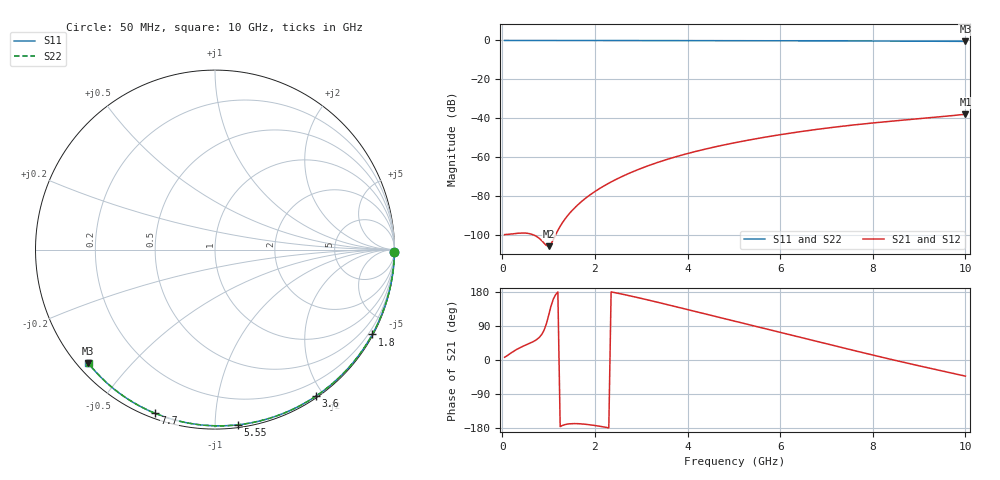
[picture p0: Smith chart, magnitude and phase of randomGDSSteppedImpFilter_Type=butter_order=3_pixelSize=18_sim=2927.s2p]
! freq	dB(S11)	phase(S11)	dB(S12)	phase(S12)
!  dB(S21)	phase(S21)	dB(S22)	phase(S22)
!S-par simulation data
#  GHz  S  DB  R 50
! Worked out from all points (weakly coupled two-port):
!   200 points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, 50 MHz to 10 GHz, reference 50 ohm
!   highest |S21| = -37.85 dB at 10 GHz (marker M1); lowest = -105.5 dB at 1 GHz (marker M2)
!   lowest |S11| = -0.5 dB at 10 GHz (marker M3), VSWR 37.27, Z = 1.54 - j19.1 ohm
!   |S11| at or under -10 dB: nowhere
!   |S22| runs from -0.5 to 0.0 dB; largest |S21 - S12| = 0
!   S11 on the Smith chart (normalised r, x): 50 MHz: open; 1.8 GHz: 0.03, -3.96; 3.6 GHz: 0.02, -1.91; 5.55 GHz: 0.02, -1.14; 7.7 GHz: 0.02, -0.70; 10 GHz: 0.03, -0.38
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0.05  -0.00 -0.8  -99.57 7.2  -99.57 7.2  -0.00 -0.8
0.5  -0.01 -8.0  -98.80 39.2  -98.80 39.2  -0.01 -8.0
1  -0.02 -15.9  -105.50 117.2  -105.50 117.2  -0.02 -15.9
1.75  -0.04 -27.6  -81.83 -169.0  -81.83 -169.0  -0.04 -27.5
1.8  -0.04 -28.3  -80.88 -169.6  -80.88 -169.6  -0.04 -28.3
1.85  -0.04 -29.1  -79.98 -170.3  -79.98 -170.3  -0.04 -29.1
2.15  -0.04 -33.7  -75.23 -175.8  -75.23 -175.8  -0.04 -33.7
2.35  -0.05 -36.7  -72.55 179.7  -72.55 179.7  -0.05 -36.7
2.55  -0.05 -39.8  -70.16 174.8  -70.16 174.8  -0.05 -39.7
2.95  -0.06 -45.8  -66.05 164.0  -66.05 164.0  -0.06 -45.7
3.4  -0.07 -52.4  -62.20 151.0  -62.20 151.0  -0.07 -52.4
3.6  -0.07 -55.3  -60.69 145.1  -60.69 145.1  -0.07 -55.3
3.9  -0.08 -59.7  -58.63 136.1  -58.63 136.1  -0.08 -59.6
4.3  -0.09 -65.4  -56.19 124.1  -56.19 124.1  -0.09 -65.3
5.05  -0.12 -75.8  -52.31 101.5  -52.31 101.5  -0.12 -75.7
5.55  -0.14 -82.6  -50.11 86.6  -50.11 86.6  -0.14 -82.5
6.1  -0.16 -89.8  -47.96 70.1  -47.96 70.1  -0.16 -89.8
6.7  -0.19 -97.6  -45.90 52.0  -45.90 52.0  -0.19 -97.5
7.7  -0.25 -110.2  -43.05 21.9  -43.05 21.9  -0.25 -110.1
8.35  -0.30 -118.2  -41.52 2.9  -41.52 2.9  -0.31 -118.1
9.2  -0.38 -128.5  -39.70 -20.8  -39.70 -20.8  -0.38 -128.4
10  -0.47 -138.1  -37.85 -42.6  -37.85 -42.6  -0.46 -138.0
